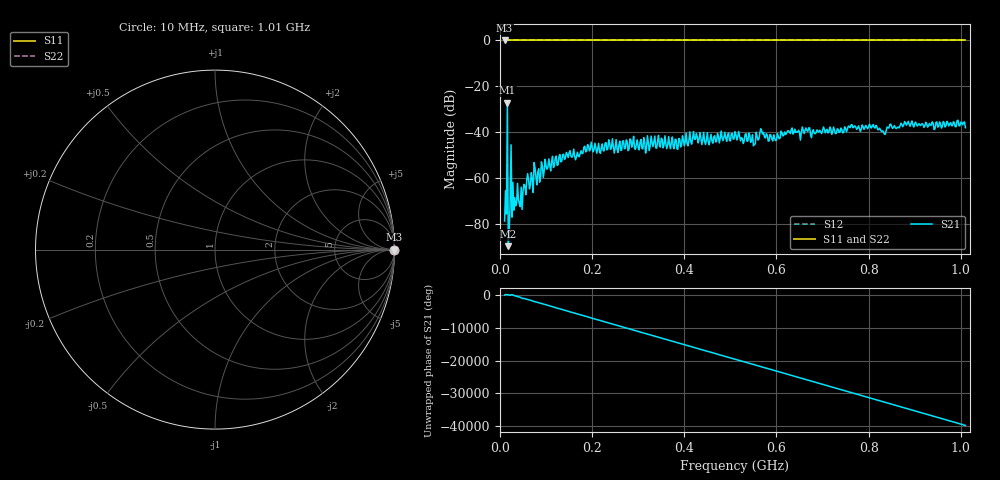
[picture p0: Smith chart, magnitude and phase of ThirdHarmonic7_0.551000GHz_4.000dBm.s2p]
! 8/17/2025 4:44:11 PM
! C:\ANRITSUVNA\TEMP\TEMP.S2P
! CHANNEL.1
! TR.MEASUREMENT
! RAW.DATA
! RF.CORRECTION.OFF
! AVERAGING.OFF
! IF.BANDWIDTH: 5KHZ
! SWEEPTYPE:  FREQ.SWEEP(Linear)
! Reference Plane Port Info
! PORT:  PORT1  PORT2
! DISTANCE:  0  m  0  m
! TIME:  0  s  0  s
! PHASE.OFFSET:  0  deg.  0  deg.
! LOSS:  0  dB  0  dB
! REF.LOSS:  0  dB  0  dB
! REF.FREQ:  0  Hz  0  Hz
! Power Info
! POWER:  -20  dBm  -20  dBm
! EFF.POWER:  -20  dBm  -20  dBm
! SOURCE.ATTEN:  0  dB  0  dB
! TEST.ATTEN:  0  dB  0  dB
# GHZ S RI R 50.0
! FREQ.GHZ  S11RE  S11IM  S21RE  S21IM  S12RE  S12IM  S22RE  S22IM
!; PortSelection: Port_12
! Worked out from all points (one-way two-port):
!   501 points, 10 MHz to 1.01 GHz, reference 50 ohm
!   highest |S21| = -27.12 dB at 16 MHz (marker M1); lowest = -89.5 dB at 18 MHz (marker M2)
!   lowest |S11| = 0.0 dB at 10 MHz (marker M3)
!   |S11| at or under -10 dB: nowhere
!   |S22| runs from 0.0 to 0.0 dB; largest |S21 - S12| = 1
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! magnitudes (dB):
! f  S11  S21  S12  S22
! 10 MHz  0.0  -78.6  0.0  0.0
! 12 MHz  0.0  -65.4  0.0  0.0
! 16 MHz  0.0  -27.1  0.0  0.0
! 18 MHz  0.0  -89.5  0.0  0.0
! 20 MHz  0.0  -82.5  0.0  0.0
! 22 MHz  0.0  -70.8  0.0  0.0
! 28 MHz  0.0  -61.8  0.0  0.0
! 30 MHz  0.0  -73.8  0.0  0.0
! 44 MHz  0.0  -72.3  0.0  0.0
! 56 MHz  0.0  -67.1  0.0  0.0
! 68 MHz  0.0  -57.5  0.0  0.0
! 72 MHz  0.0  -66.1  0.0  0.0
! 178 MHz  0.0  -49.2  0.0  0.0
! 344 MHz  0.0  -41.3  0.0  0.0
! 510 MHz  0.0  -39.7  0.0  0.0
! 550 MHz  0.0  -45.8  0.0  0.0
! 568 MHz  0.0  -39.4  0.0  0.0
! 596 MHz  0.0  -42.5  0.0  0.0
! 630 MHz  0.0  -40.5  0.0  0.0
! 678 MHz  0.0  -39.6  0.0  0.0
! 844 MHz  0.0  -38.1  0.0  0.0
! 1.01 GHz  0.0  -37.9  0.0  0.0
